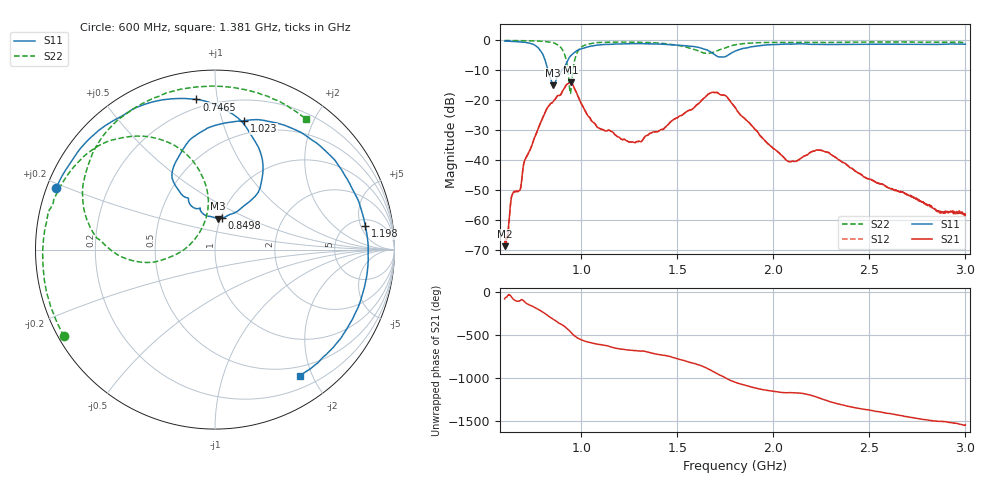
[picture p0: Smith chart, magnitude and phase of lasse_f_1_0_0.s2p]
#  HZ  S  RI  R  50.00
! Rohde & Schwarz ZVB8 2Ports - Version 2.81 - 1145.1010k08 SN: 100113
! Date: 2016-05-04 02:49:07
! Measurements: S11 S21 S12 S22
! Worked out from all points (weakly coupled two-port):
!   1000 points, 600 MHz to 3 GHz, reference 50 ohm
!   highest |S21| = -14.23 dB at 943.5 MHz (marker M1); lowest = -68.9 dB at 602.4 MHz (marker M2)
!   lowest |S11| = -15.2 dB at 852.3 MHz (marker M3), VSWR 1.42, Z = 48.7 + j17.3 ohm
!   |S11| at or under -10 dB: 824.9 MHz to 899.1 MHz (74.19 MHz wide, 8.61 % of centre)
!   |S22| runs from -17.9 to -0.3 dB; largest |S21 - S12| = 0.0051
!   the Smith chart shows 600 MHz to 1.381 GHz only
!   S11 on the Smith chart (normalised r, x): 600 MHz: 0.03, +0.19; 746.5 MHz: 0.15, +0.87; 849.8 MHz: 1.01, +0.36; 1.023 GHz: 0.38, +1.18; 1.198 GHz: 6.54, +6.03; 1.381 GHz: 0.37, -1.83
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6e8  -0.8848 0.3437  5.59e-05 -0.000363  8.17e-05 -0.000354  -0.8413 -0.4835
6.024024e8  -0.879 0.356  0.000123 -0.000338  8.27e-05 -0.000464  -0.846 -0.4749
6.408408e8  -0.7644 0.5446  0.000725 -0.00256  0.000809 -0.00251  -0.9081 -0.3356
7.465465e8  -0.1031 0.8367  -0.0187 -0.00393  -0.0186 -0.0041  -0.9522 0.0828
8.018018e8  0.2671 0.4718  -0.0275 0.0445  -0.0277 0.0446  -0.8782 0.321
8.498498e8  0.0365 0.174  0.0614 0.0655  0.0611 0.0658  -0.7147 0.5335
8.522523e8  0.0167 0.1728  0.0663 0.064  0.0659 0.0643  -0.7029 0.5422
9.027027e8  -0.1483 0.2861  0.127 -0.0614  0.1275 -0.0603  -0.2794 0.6051
9.435435e8  -0.2183 0.4895  -0.0484 -0.1882  -0.0472 -0.1883  -0.1146 0.0547
1.001201e9  0.0516 0.7049  -0.0803 0.0239  -0.0802 0.0233  -0.7268 0.2105
1.022823e9  0.1624 0.7181  -0.0509 0.0358  -0.0511 0.0354  -0.7337 0.3698
1.198198e9  0.8381 0.1295  0.0119 0.0201  0.0118 0.0202  -0.1841 0.8949
1.380781e9  0.4762 -0.7016  0.029 0.00136  0.0289 0.0015  0.5081 0.7265
1.4e9  0.3925 -0.7476  0.0295 -0.00218  0.0294 -0.00207  0.5667 0.6733
1.676276e9  -0.5268 -0.3145  -0.1281 0.0253  -0.1285 0.024  0.6015 -0.0222
1.801201e9  -0.568 -0.3083  0.063 0.0385  0.0625 0.0388  0.7462 -0.3401
1.978979e9  -0.7638 0.3075  0.00737 -0.016  0.00755 -0.0159  0.3073 -0.8437
2.2e9  -0.0787 0.8316  -0.00705 -0.0116  -0.00697 -0.0116  -0.3767 -0.8193
2.425826e9  0.7179 0.4295  -0.000864 0.0064  -0.000871 0.00636  -0.8032 -0.4286
2.601201e9  0.7789 -0.3119  0.0029 0.00172  0.00289 0.00173  -0.9141 -0.0269
2.798198e9  0.1778 -0.8154  0.0013 -0.00124  0.00126 -0.00123  -0.8137 0.4083
3e9  -0.5286 -0.6544  -0.000264 -0.00121  -0.000283 -0.00117  -0.5144 0.7401
